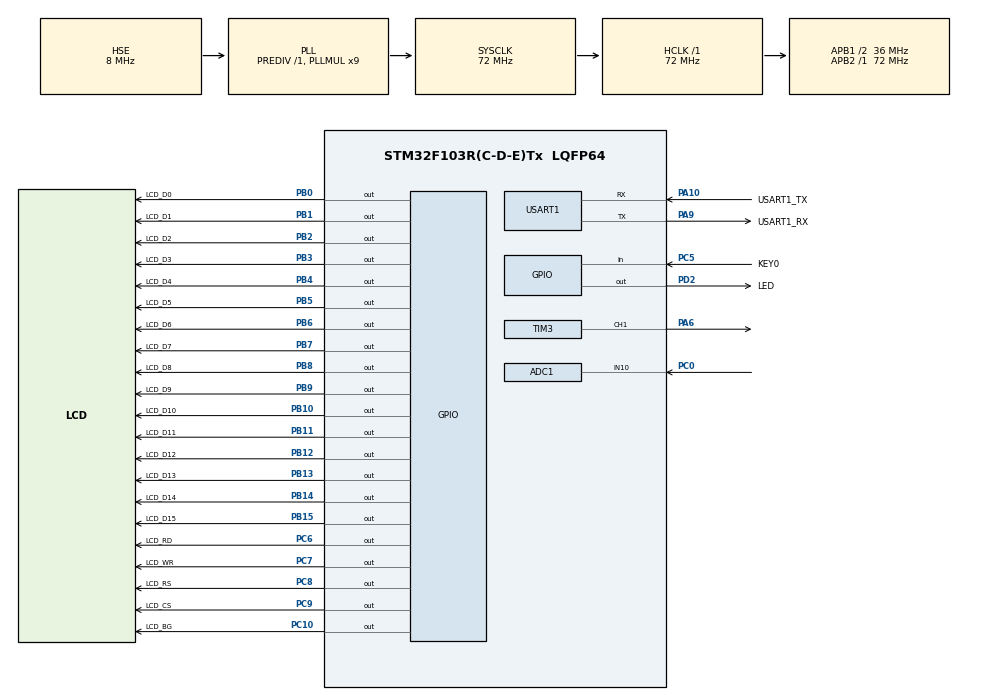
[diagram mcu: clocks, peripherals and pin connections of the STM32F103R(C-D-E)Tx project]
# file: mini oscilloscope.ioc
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ADC1.Channel-8\#ChannelRegularConversion=ADC_CHANNEL_10
ADC1.ContinuousConvMode=DISABLE
ADC1.EnableAnalogWatchDog=false
ADC1.ExternalTrigConv=ADC_EXTERNALTRIGCONV_T8_TRGO
ADC1.InjNumberOfConversion=0
ADC1.NbrOfConversion=1
ADC1.NbrOfConversionFlag=1
ADC1.Rank-8\#ChannelRegularConversion=1
ADC1.SamplingTime-8\#ChannelRegularConversion=ADC_SAMPLETIME_55CYCLES_5
ADC1.master=1
Dma.ADC1.2.Direction=DMA_PERIPH_TO_MEMORY
Dma.ADC1.2.Instance=DMA1_Channel1
Dma.ADC1.2.MemDataAlignment=DMA_MDATAALIGN_WORD
Dma.ADC1.2.MemInc=DMA_MINC_ENABLE
Dma.ADC1.2.Mode=DMA_CIRCULAR
Dma.ADC1.2.PeriphDataAlignment=DMA_PDATAALIGN_WORD
Dma.ADC1.2.PeriphInc=DMA_PINC_DISABLE
Dma.ADC1.2.Priority=DMA_PRIORITY_LOW
Dma.Request0=USART1_RX
Dma.Request1=USART1_TX
Dma.Request2=ADC1
Dma.USART1_RX.0.Direction=DMA_PERIPH_TO_MEMORY
Dma.USART1_RX.0.Instance=DMA1_Channel5
Dma.USART1_RX.0.MemDataAlignment=DMA_MDATAALIGN_BYTE
Dma.USART1_RX.0.MemInc=DMA_MINC_ENABLE
Dma.USART1_RX.0.Mode=DMA_NORMAL
Dma.USART1_RX.0.PeriphDataAlignment=DMA_PDATAALIGN_BYTE
Dma.USART1_RX.0.PeriphInc=DMA_PINC_DISABLE
Dma.USART1_RX.0.Priority=DMA_PRIORITY_LOW
Dma.USART1_TX.1.Direction=DMA_MEMORY_TO_PERIPH
Dma.USART1_TX.1.Instance=DMA1_Channel4
Dma.USART1_TX.1.MemDataAlignment=DMA_MDATAALIGN_BYTE
Dma.USART1_TX.1.MemInc=DMA_MINC_ENABLE
Dma.USART1_TX.1.Mode=DMA_NORMAL
Dma.USART1_TX.1.PeriphDataAlignment=DMA_PDATAALIGN_BYTE
Dma.USART1_TX.1.PeriphInc=DMA_PINC_DISABLE
Dma.USART1_TX.1.Priority=DMA_PRIORITY_LOW
Mcu.Family=STM32F1
Mcu.Name=STM32F103R(C-D-E)Tx
Mcu.Package=LQFP64
NVIC.DMA1_Channel1_IRQn=true\:0\:0\:false\:false\:true\:false\:true
NVIC.DMA1_Channel4_IRQn=true\:0\:0\:false\:false\:true\:false\:true
NVIC.DMA1_Channel5_IRQn=true\:0\:0\:false\:false\:true\:false\:true
NVIC.PriorityGroup=NVIC_PRIORITYGROUP_4
NVIC.USART1_IRQn=true\:0\:0\:false\:false\:true\:true\:true
PA10.GPIO_Label=USART1_TX
PA10.Mode=Asynchronous
PA10.Signal=USART1_RX
PA13.Mode=Serial_Wire
PA13.Signal=SYS_JTMS-SWDIO
PA14.Mode=Serial_Wire
PA14.Signal=SYS_JTCK-SWCLK
PA6.Signal=S_TIM3_CH1
PA9.GPIO_Label=USART1_RX
PA9.Mode=Asynchronous
PA9.Signal=USART1_TX
PB0.GPIO_Label=LCD_D0
PB0.GPIO_PuPd=GPIO_PULLUP
PB0.GPIO_Speed=GPIO_SPEED_FREQ_HIGH
PB0.Signal=GPIO_Output
PB1.GPIO_Label=LCD_D1
PB1.GPIO_PuPd=GPIO_PULLUP
PB1.GPIO_Speed=GPIO_SPEED_FREQ_HIGH
PB1.Signal=GPIO_Output
PB10.GPIO_Label=LCD_D10
PB10.Signal=GPIO_Output
PB11.GPIO_Label=LCD_D11
PB11.Signal=GPIO_Output
PB12.GPIO_Label=LCD_D12
PB12.Signal=GPIO_Output
PB13.GPIO_Label=LCD_D13
PB13.Signal=GPIO_Output
PB14.GPIO_Label=LCD_D14
PB14.Signal=GPIO_Output
PB15.GPIO_Label=LCD_D15
PB15.PinState=GPIO_PIN_RESET
PB15.Signal=GPIO_Output
PB2.GPIO_Label=LCD_D2
PB2.GPIO_PuPd=GPIO_PULLUP
PB2.GPIO_Speed=GPIO_SPEED_FREQ_HIGH
PB2.Signal=GPIO_Output
PB3.GPIO_Label=LCD_D3
PB3.GPIO_PuPd=GPIO_PULLUP
PB3.GPIO_Speed=GPIO_SPEED_FREQ_HIGH
PB3.Signal=GPIO_Output
PB4.GPIO_Label=LCD_D4
PB4.Signal=GPIO_Output
PB5.GPIO_Label=LCD_D5
PB5.Signal=GPIO_Output
PB6.GPIO_Label=LCD_D6
PB6.Signal=GPIO_Output
PB7.GPIO_Label=LCD_D7
PB7.Signal=GPIO_Output
PB8.GPIO_Label=LCD_D8
PB8.Signal=GPIO_Output
PB9.GPIO_Label=LCD_D9
PB9.Signal=GPIO_Output
PC0.Signal=ADCx_IN10
PC10.GPIO_Label=LCD_BG
PC10.PinState=GPIO_PIN_RESET
PC10.Signal=GPIO_Output
PC5.GPIO_Label=KEY0
PC5.GPIO_PuPd=GPIO_PULLUP
PC5.Signal=GPIO_Input
PC6.GPIO_Label=LCD_RD
PC6.PinState=GPIO_PIN_RESET
PC6.Signal=GPIO_Output
PC7.GPIO_Label=LCD_WR
PC7.PinState=GPIO_PIN_RESET
PC7.Signal=GPIO_Output
PC8.GPIO_Label=LCD_RS
PC8.PinState=GPIO_PIN_RESET
PC8.Signal=GPIO_Output
PC9.GPIO_Label=LCD_CS
PC9.PinState=GPIO_PIN_RESET
PC9.Signal=GPIO_Output
PD0-OSC_IN.Mode=HSE-External-Oscillator
PD0-OSC_IN.Signal=RCC_OSC_IN
PD1-OSC_OUT.Mode=HSE-External-Oscillator
PD1-OSC_OUT.Signal=RCC_OSC_OUT
PD2.GPIO_Label=LED
PD2.GPIO_Speed=GPIO_SPEED_FREQ_HIGH
PD2.PinState=GPIO_PIN_RESET
PD2.Signal=GPIO_Output
ProjectManager.HeapSize=0x200
ProjectManager.StackSize=0x400
ProjectManager.TargetToolchain=MDK-ARM V5
RCC.ADCPresc=RCC_ADCPCLK2_DIV6
RCC.AHBFreq_Value=72000000
RCC.APB1CLKDivider=RCC_HCLK_DIV2
RCC.APB1Freq_Value=36000000
RCC.APB1TimFreq_Value=72000000
RCC.APB2Freq_Value=72000000
RCC.APB2TimFreq_Value=72000000
RCC.HCLKFreq_Value=72000000
RCC.PLLMUL=RCC_PLL_MUL9
RCC.PLLSourceVirtual=RCC_PLLSOURCE_HSE
RCC.SYSCLKFreq_VALUE=72000000
RCC.SYSCLKSource=RCC_SYSCLKSOURCE_PLLCLK
RCC.USBFreq_Value=72000000
SH.ADCx_IN10.0=ADC1_IN10,IN10
SH.S_TIM3_CH1.0=TIM3_CH1,PWM Generation1 CH1
TIM3.Channel-PWM\ Generation1\ CH1=TIM_CHANNEL_1
TIM3.Period=100-1
TIM3.Prescaler=7200-1
TIM3.Pulse-PWM\ Generation1\ CH1=50
TIM8.AutoReloadPreload=TIM_AUTORELOAD_PRELOAD_ENABLE
TIM8.Period=100-1
TIM8.Prescaler=720-1
TIM8.TIM_MasterOutputTrigger=TIM_TRGO_UPDATE
TIM8.TIM_MasterSlaveMode=TIM_MASTERSLAVEMODE_DISABLE
USART1.VirtualMode=VM_ASYNC
VP_TIM8_VS_ClockSourceINT.Mode=Internal
board=custom

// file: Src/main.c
/* USER CODE BEGIN Header */
/**
  ******************************************************************************
  * @file           : main.c
  * @brief          : Main program body
  ******************************************************************************
  * @attention
  *
  * <h2><center>&copy; Copyright (c) 2020 STMicroelectronics.
  * All rights reserved.</center></h2>
  *
  * This software component is licensed by ST under BSD 3-Clause license,
  * the "License"; You may not use this file except in compliance with the
  * License. You may obtain a copy of the License at:
  *                        opensource.org/licenses/BSD-3-Clause
  *
  ******************************************************************************
  */
/* USER CODE END Header */

#include "main.h"
#include "adc.h"
#include "dma.h"
#include "tim.h"
#include "usart.h"
#include "gpio.h"

/* USER CODE BEGIN Includes */
#include "delay.h"
#include "sys.h"
#include "lcd.h"
/* USER CODE END Includes */

void SystemClock_Config(void);

int main(void)
{

  /* MCU Configuration--------------------------------------------------------*/

  /* Reset of all peripherals, Initializes the Flash interface and the Systick. */
  HAL_Init();

  /* Configure the system clock */
  SystemClock_Config();

  /* USER CODE BEGIN SysInit */
  __HAL_AFIO_REMAP_SWJ_NOJTAG();                    //禁用JTAG，否则不能正常烧录（使用了该io）
 	//__HAL_AFIO_REMAP_SWJ_DISABLE();                 //完全禁用SWD及JTAG
  /* USER CODE END SysInit */

  /* Initialize all configured peripherals */
  MX_GPIO_Init();
  MX_DMA_Init();
  MX_USART1_UART_Init();
  MX_ADC1_Init();
  MX_TIM3_Init();
  MX_TIM8_Init();
  /* USER CODE BEGIN 2 */
  hal_delay_init();                                    //将HAL_delay定义为us延时，并定义delay_ms，delay_us
 	LCD_Init();

	POINT_COLOR=RED;
  printf("HELLO WORLD!\n"); 	//lcd画笔为红色
	HAL_TIM_PWM_Start(&htim3, TIM_CHANNEL_1);            //pwm波生成，用于测试
	HAL_TIM_Base_Start(&htim8);                          //控制AD的timer使能
	HAL_ADC_Start_DMA(&hadc1, (uint32_t *)adc_val,1000); //全字传输AD数据（事实上uint8_t即可）
	__HAL_UART_ENABLE_IT(&huart1, UART_IT_IDLE);         //usart1中断
	HAL_UART_Receive_DMA(&huart1,rx_buffer,BUFFER_SIZE); //uart dma接收使能
  /* USER CODE END 2 */

  /* Infinite loop */
  while (1)
  {

    /* USER CODE BEGIN 3 */
		if(recv_end_flag ==1)                               //将接受到的串口数据打印到pc
		{
			printf("rx_len=%d\r\n",rx_len);//打印接收长度
			HAL_UART_Transmit(&huart1,rx_buffer,rx_len,0xffff);//接收数据打印出来
			for(uint8_t i=0;i<rx_len;i++)
				{
					rx_buffer[i]=0;//清接收缓存
				}
			rx_len=0;//清除计数
			recv_end_flag=0;//清除接收结束标志位
			HAL_UART_Receive_DMA(&huart1,rx_buffer,BUFFER_SIZE);//重新打开DMA接收
		}

		if (HAL_GPIO_ReadPin(GPIOC,GPIO_PIN_5)==0)           //按键控制灯的翻转
		{
			HAL_GPIO_TogglePin(GPIOD,GPIO_PIN_2);
			delay_ms(200);
		}

		if ((DMA1_Channel1->CNDTR>=320) && (adc_flag))  //CNDTR寄存器——存储当前的dma传输的数据个数
		{

			int j;
			LCD_Clear(WHITE);
			for (j=0;j<=320;j++)
			LCD_DrawLine(j,200-adc_val[j]*100/4800,j+1,200-adc_val[j+1]*100/4800);
			adc_flag=0;
		}
  }
  /* USER CODE END 3 */
}

void SystemClock_Config(void)
{
  RCC_OscInitTypeDef RCC_OscInitStruct = {0};
  RCC_ClkInitTypeDef RCC_ClkInitStruct = {0};
  RCC_PeriphCLKInitTypeDef PeriphClkInit = {0};

  /** Initializes the CPU, AHB and APB busses clocks
  */
  RCC_OscInitStruct.OscillatorType = RCC_OSCILLATORTYPE_HSE;
  RCC_OscInitStruct.HSEState = RCC_HSE_ON;
  RCC_OscInitStruct.HSEPredivValue = RCC_HSE_PREDIV_DIV1;
  RCC_OscInitStruct.HSIState = RCC_HSI_ON;
  RCC_OscInitStruct.PLL.PLLState = RCC_PLL_ON;
  RCC_OscInitStruct.PLL.PLLSource = RCC_PLLSOURCE_HSE;
  RCC_OscInitStruct.PLL.PLLMUL = RCC_PLL_MUL9;
  if (HAL_RCC_OscConfig(&RCC_OscInitStruct) != HAL_OK)
  {
    Error_Handler();
  }
  /** Initializes the CPU, AHB and APB busses clocks
  */
  RCC_ClkInitStruct.ClockType = RCC_CLOCKTYPE_HCLK|RCC_CLOCKTYPE_SYSCLK
                              |RCC_CLOCKTYPE_PCLK1|RCC_CLOCKTYPE_PCLK2;
  RCC_ClkInitStruct.SYSCLKSource = RCC_SYSCLKSOURCE_PLLCLK;
  RCC_ClkInitStruct.AHBCLKDivider = RCC_SYSCLK_DIV1;
  RCC_ClkInitStruct.APB1CLKDivider = RCC_HCLK_DIV2;
  RCC_ClkInitStruct.APB2CLKDivider = RCC_HCLK_DIV1;

  if (HAL_RCC_ClockConfig(&RCC_ClkInitStruct, FLASH_LATENCY_2) != HAL_OK)
  {
    Error_Handler();
  }
  PeriphClkInit.PeriphClockSelection = RCC_PERIPHCLK_ADC;
  PeriphClkInit.AdcClockSelection = RCC_ADCPCLK2_DIV6;
  if (HAL_RCCEx_PeriphCLKConfig(&PeriphClkInit) != HAL_OK)
  {
    Error_Handler();
  }
}

void Error_Handler(void)
{
}

/************************ (C) COPYRIGHT STMicroelectronics *****END OF FILE****/
